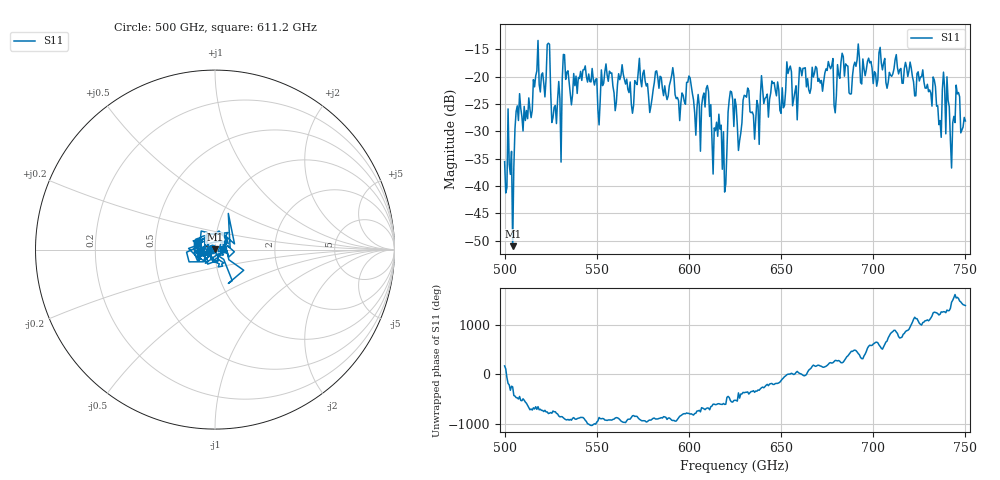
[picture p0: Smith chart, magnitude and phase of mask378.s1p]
!Created with skrf (http://scikit-rf.org).
# GHz S MA R 50.0
!freq magS11 angS11
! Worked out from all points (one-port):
!   401 points, 500 GHz to 750 GHz, reference 50 ohm
!   lowest |S11| = -51.0 dB at 504.4 GHz (marker M1), VSWR 1.01, Z = 49.9 + j0.268 ohm
!   |S11| at or under -10 dB: start of sweep to end of sweep
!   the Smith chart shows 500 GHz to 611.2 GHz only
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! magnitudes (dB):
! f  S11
! 500 GHz  -35.5
! 504.4 GHz  -51.0
! 506.9 GHz  -25.3
! 513.8 GHz  -25.9
! 516.9 GHz  -19.9
! 523.8 GHz  -13.9
! 526.9 GHz  -25.6
! 531.2 GHz  -20.6
! 562.5 GHz  -20.5
! 593.8 GHz  -23.8
! 605 GHz  -23.2
! 609.4 GHz  -22.2
! 619.4 GHz  -41.1
! 622.5 GHz  -22.6
! 625 GHz  -24.1
! 627.5 GHz  -31.7
! 631.2 GHz  -23.7
! 636.9 GHz  -24.3
! 640 GHz  -22.3
! 656.2 GHz  -25.3
! 687.5 GHz  -23.2
! 691.2 GHz  -16.9
! 718.8 GHz  -20.0
! 735.6 GHz  -28.8
! 738.8 GHz  -22.1
! 743.1 GHz  -28.4
! 745.6 GHz  -23.1
! 750 GHz  -28.1
